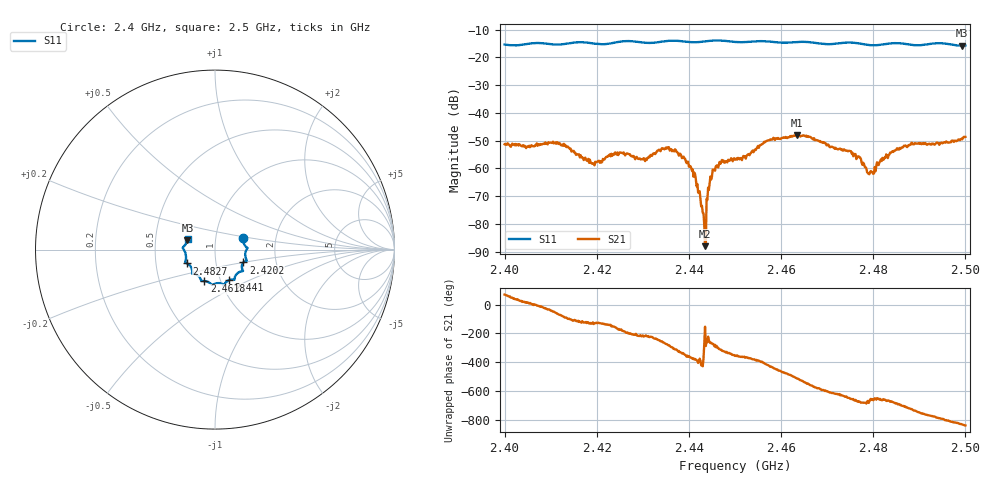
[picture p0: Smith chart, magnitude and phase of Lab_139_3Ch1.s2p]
# Hz S RI R 50
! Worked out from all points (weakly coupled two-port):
!   601 points, 2.4 GHz to 2.5 GHz, reference 50 ohm
!   highest |S21| = -48.05 dB at 2.4635 GHz (marker M1); lowest = -88.0 dB at 2.4435 GHz (marker M2)
!   lowest |S11| = -15.8 dB at 2.4993 GHz (marker M3), VSWR 1.39, Z = 36.5 + j3.82 ohm
!   |S11| at or under -10 dB: start of sweep to end of sweep
!   S12 and S22 are empty: the file has one direction only
!   S11 on the Smith chart (normalised r, x): 2.4 GHz: 1.36, +0.18; 2.4202 GHz: 1.36, -0.20; 2.441 GHz: 1.10, -0.39; 2.4618 GHz: 0.84, -0.30; 2.4827 GHz: 0.72, -0.12; 2.5 GHz: 0.73, +0.09
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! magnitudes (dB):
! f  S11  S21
! 2.4 GHz  -15.4  -51.3
! 2.4115 GHz  -15.4  -50.6
! 2.4167 GHz  -14.6  -56.0
! 2.4202 GHz  -15.2  -57.5
! 2.4303 GHz  -14.7  -56.4
! 2.4333 GHz  -14.5  -53.5
! 2.4372 GHz  -14.0  -53.4
! 2.441 GHz  -14.6  -63.0
! 2.4432 GHz  -14.3  -76.2
! 2.4435 GHz  -14.3  -88.0
! 2.4447 GHz  -14.0  -62.9
! 2.4457 GHz  -13.9  -60.8
! 2.45 GHz  -14.5  -56.8
! 2.4618 GHz  -14.7  -48.7
! 2.4635 GHz  -14.5  -48.0
! 2.4667 GHz  -14.6  -49.2
! 2.475 GHz  -14.7  -53.7
! 2.4792 GHz  -15.6  -62.1
! 2.4827 GHz  -15.2  -56.1
! 2.4833 GHz  -15.0  -55.2
! 2.4993 GHz  -15.8  -49.5
! 2.5 GHz  -15.7  -48.6
